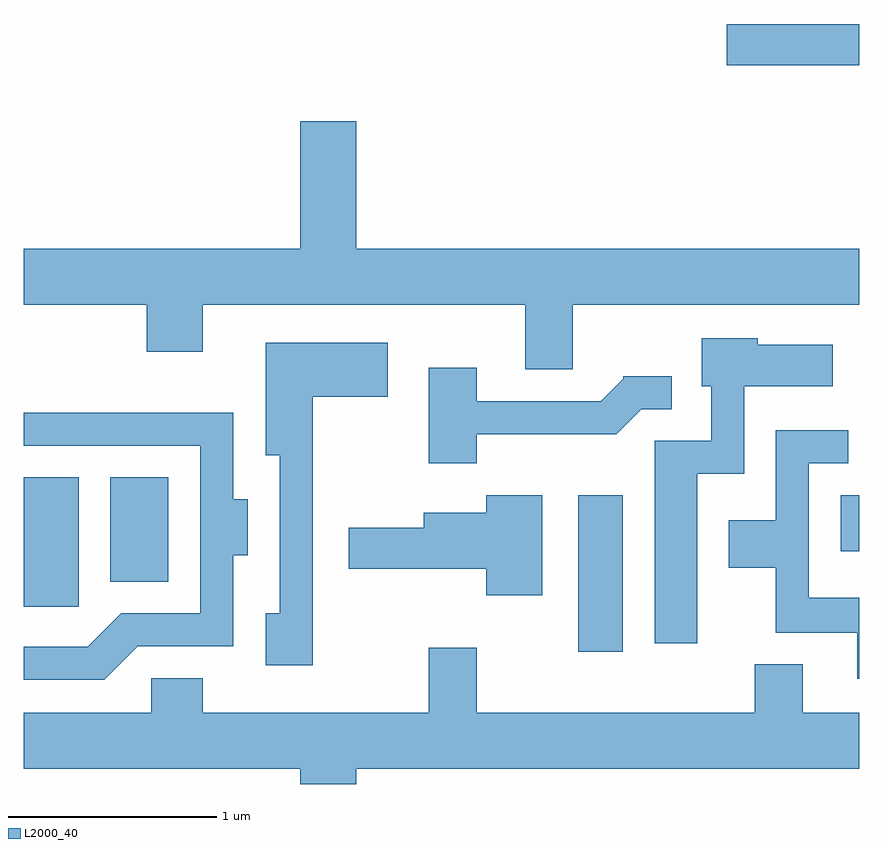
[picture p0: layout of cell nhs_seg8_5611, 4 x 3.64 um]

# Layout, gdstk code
import gdstk
lib = gdstk.Library(unit=1e-6, precision=1e-09)
def R(c, l, rs):  # rectangles x0, y0, x1, y1
    for r in rs: c.add(gdstk.rectangle(r[:2], r[2:], *l))
def P(c, l, *ps):  # polygons
    for p in ps: c.add(gdstk.Polygon(p, *l))
L2000_40 = (2000, 40)

nhs_seg8_5611 = lib.new_cell('nhs_seg8_5611')
R(nhs_seg8_5611, L2000_40, [(356.266,1836.976,356.479,1837.724), (353.611,1837.191,353.874,1837.809), (354.026,1837.311,354.304,1837.809), (357.521,1837.456,357.611,1837.724), (356.976,1839.781,357.611,1839.979)])
P(nhs_seg8_5611, L2000_40, [(356.239,1838.636),(357.611,1838.636),(357.611,1838.904),(355.204,1838.904),(355.204,1839.514),(354.936,1839.514),(354.936,1838.904),(353.611,1838.904),(353.611,1838.636),(354.201,1838.636),(354.201,1838.411),(354.469,1838.411),(354.469,1838.636),(356.011,1838.636),(356.011,1838.326),(356.239,1838.326)],
  [(356.834,1837.826),(357.059,1837.826),(357.059,1838.246),(357.484,1838.246),(357.484,1838.444),(357.124,1838.444),(357.124,1838.474),(356.856,1838.474),(356.856,1838.246),(356.901,1838.246),(356.901,1837.984),(356.631,1837.984),(356.631,1837.016),(356.834,1837.016)],
  [(354.994,1838.196),(355.354,1838.196),(355.354,1838.454),(354.771,1838.454),(354.771,1837.916),(354.836,1837.916),(354.836,1837.159),(354.771,1837.159),(354.771,1836.911),(354.994,1836.911)],
  [(355.779,1838.016),(356.447,1838.016),(356.567,1838.136),(356.713,1838.136),(356.713,1838.294),(356.48,1838.294),(356.48,1838.281),(356.374,1838.174),(355.779,1838.174),(355.779,1838.334),(355.551,1838.334),(355.551,1837.876),(355.779,1837.876)],
  [(354.157,1837.001),(354.614,1837.001),(354.614,1837.436),(354.684,1837.436),(354.684,1837.704),(354.614,1837.704),(354.614,1838.119),(353.611,1838.119),(353.611,1837.961),(354.456,1837.961),(354.456,1837.159),(354.079,1837.159),(353.919,1836.999),(353.611,1836.999),(353.611,1836.841),(353.997,1836.841)],
  [(357.611,1837.234),(357.369,1837.234),(357.369,1837.876),(357.558,1837.876),(357.558,1838.034),(357.211,1838.034),(357.211,1837.604),(356.986,1837.604),(356.986,1837.376),(357.211,1837.376),(357.211,1837.066),(357.601,1837.066),(357.601,1836.846),(357.611,1836.846)],
  [(356.094,1837.724),(355.826,1837.724),(355.826,1837.639),(355.526,1837.639),(355.526,1837.569),(355.166,1837.569),(355.166,1837.371),(355.826,1837.371),(355.826,1837.246),(356.094,1837.246)],
  [(355.204,1836.416),(357.611,1836.416),(357.611,1836.684),(357.339,1836.684),(357.339,1836.914),(357.111,1836.914),(357.111,1836.684),(355.779,1836.684),(355.779,1836.994),(355.551,1836.994),(355.551,1836.684),(354.469,1836.684),(354.469,1836.849),(354.221,1836.849),(354.221,1836.684),(353.611,1836.684),(353.611,1836.416),(354.936,1836.416),(354.936,1836.342),(355.204,1836.342)])

lib.write_gds('nhs_seg8_5611.gds')
